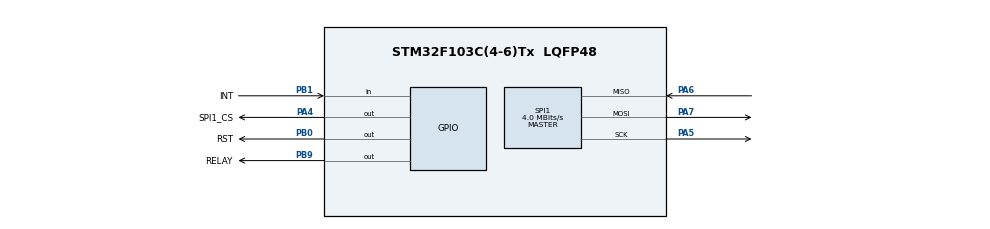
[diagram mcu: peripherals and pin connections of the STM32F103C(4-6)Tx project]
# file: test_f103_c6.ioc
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Mcu.Family=STM32F1
Mcu.Name=STM32F103C(4-6)Tx
Mcu.Package=LQFP48
NVIC.PriorityGroup=NVIC_PRIORITYGROUP_4
PA4.GPIO_Label=SPI1_CS
PA4.Signal=GPIO_Output
PA5.Mode=Full_Duplex_Master
PA5.Signal=SPI1_SCK
PA6.Mode=Full_Duplex_Master
PA6.Signal=SPI1_MISO
PA7.Mode=Full_Duplex_Master
PA7.Signal=SPI1_MOSI
PB0.GPIO_Label=RST
PB0.Signal=GPIO_Output
PB1.GPIO_Label=INT
PB1.Signal=GPIO_Input
PB9.GPIO_Label=RELAY
PB9.Signal=GPIO_Output
ProjectManager.HeapSize=0x200
ProjectManager.StackSize=0x400
ProjectManager.TargetToolchain=STM32CubeIDE
RCC.APB1Freq_Value=8000000
RCC.APB2Freq_Value=8000000
SPI1.CalculateBaudRate=4.0 MBits/s
SPI1.Direction=SPI_DIRECTION_2LINES
SPI1.Mode=SPI_MODE_MASTER
SPI1.VirtualType=VM_MASTER
VP_SYS_VS_ND.Mode=No_Debug
board=custom

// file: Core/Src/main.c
/* USER CODE BEGIN Header */
/**
  ******************************************************************************
  * @file           : main.c
  * @brief          : Main program body
  ******************************************************************************
  * @attention
  *
  * Copyright (c) 2025 STMicroelectronics.
  * All rights reserved.
  *
  * This software is licensed under terms that can be found in the LICENSE file
  * in the root directory of this software component.
  * If no LICENSE file comes with this software, it is provided AS-IS.
  *
  ******************************************************************************
  */
/* USER CODE END Header */
#include "main.h"

/* USER CODE BEGIN Includes */
#include "eth_w5500.h"
#include "http_digest.h"
#include "relay.h"
#include "logger.h"
#include <stdio.h>
#include <string.h>
#include "config.h"

/* USER CODE END Includes */

/* USER CODE BEGIN PD */

#define CLIENT_SOCKET 0

/* USER CODE END PD */

SPI_HandleTypeDef hspi1;

void SystemClock_Config(void);
static void MX_GPIO_Init(void);
static void MX_SPI1_Init(void);

int main(void)
{

  /* MCU Configuration--------------------------------------------------------*/

  /* Reset of all peripherals, Initializes the Flash interface and the Systick. */
  HAL_Init();

  /* Configure the system clock */
  SystemClock_Config();

  /* Initialize all configured peripherals */
  MX_GPIO_Init();
  MX_SPI1_Init();
  /* USER CODE BEGIN 2 */

	Relay_Init();

	ETH_W5500_Init();
	HAL_Delay(500);
	ETH_W5500_Tick();

	// Initialize logger
	Logger_SetServer(device_config.logger_server_ip, device_config.logger_server_port);

	LOGI("Hi from stm32\n");
	Logger_Process();

	Flash_Write_Config(&device_config);

	ETH_W5500_PrintNetInfo();

//	http_digest_init(CLIENT_SOCKET, cam_ip, cam_port,
//		"/cgi-bin/eventManager.cgi?action=attach&codes=%5BTrafficJunction%5D",
//		cam_user, cam_password);

    http_digest_init(CLIENT_SOCKET, device_config.camera_ip, device_config.camera_port,
    	device_config.camera_url,
		device_config.camera_login, device_config.camera_password);

  /* USER CODE END 2 */

  /* Infinite loop */
	while (1)
	{

    /* USER CODE BEGIN 3 */
		http_digest_status_t err = http_digest_process();
		if (err != HTTP_DIGEST_OK)
			LOGE("http_digest_process() finished in the loop: %d\n", err);

		Logger_Process();
	}
  /* USER CODE END 3 */
}

void SystemClock_Config(void)
{
  RCC_OscInitTypeDef RCC_OscInitStruct = {0};
  RCC_ClkInitTypeDef RCC_ClkInitStruct = {0};

  /** Initializes the RCC Oscillators according to the specified parameters
  * in the RCC_OscInitTypeDef structure.
  */
  RCC_OscInitStruct.OscillatorType = RCC_OSCILLATORTYPE_HSI;
  RCC_OscInitStruct.HSIState = RCC_HSI_ON;
  RCC_OscInitStruct.HSICalibrationValue = RCC_HSICALIBRATION_DEFAULT;
  RCC_OscInitStruct.PLL.PLLState = RCC_PLL_NONE;
  if (HAL_RCC_OscConfig(&RCC_OscInitStruct) != HAL_OK)
  {
    Error_Handler();
  }

  /** Initializes the CPU, AHB and APB buses clocks
  */
  RCC_ClkInitStruct.ClockType = RCC_CLOCKTYPE_HCLK|RCC_CLOCKTYPE_SYSCLK
                              |RCC_CLOCKTYPE_PCLK1|RCC_CLOCKTYPE_PCLK2;
  RCC_ClkInitStruct.SYSCLKSource = RCC_SYSCLKSOURCE_HSI;
  RCC_ClkInitStruct.AHBCLKDivider = RCC_SYSCLK_DIV1;
  RCC_ClkInitStruct.APB1CLKDivider = RCC_HCLK_DIV1;
  RCC_ClkInitStruct.APB2CLKDivider = RCC_HCLK_DIV1;

  if (HAL_RCC_ClockConfig(&RCC_ClkInitStruct, FLASH_LATENCY_0) != HAL_OK)
  {
    Error_Handler();
  }
}

static void MX_SPI1_Init(void)
{

  /* SPI1 parameter configuration*/
  hspi1.Instance = SPI1;
  hspi1.Init.Mode = SPI_MODE_MASTER;
  hspi1.Init.Direction = SPI_DIRECTION_2LINES;
  hspi1.Init.DataSize = SPI_DATASIZE_8BIT;
  hspi1.Init.CLKPolarity = SPI_POLARITY_LOW;
  hspi1.Init.CLKPhase = SPI_PHASE_1EDGE;
  hspi1.Init.NSS = SPI_NSS_SOFT;
  hspi1.Init.BaudRatePrescaler = SPI_BAUDRATEPRESCALER_2;
  hspi1.Init.FirstBit = SPI_FIRSTBIT_MSB;
  hspi1.Init.TIMode = SPI_TIMODE_DISABLE;
  hspi1.Init.CRCCalculation = SPI_CRCCALCULATION_DISABLE;
  hspi1.Init.CRCPolynomial = 10;
  if (HAL_SPI_Init(&hspi1) != HAL_OK)
  {
    Error_Handler();
  }

}

static void MX_GPIO_Init(void)
{
  GPIO_InitTypeDef GPIO_InitStruct = {0};

  /* GPIO Ports Clock Enable */
  __HAL_RCC_GPIOA_CLK_ENABLE();
  __HAL_RCC_GPIOB_CLK_ENABLE();

  /*Configure GPIO pin Output Level */
  HAL_GPIO_WritePin(SPI1_CS_GPIO_Port, SPI1_CS_Pin, GPIO_PIN_RESET);

  /*Configure GPIO pin Output Level */
  HAL_GPIO_WritePin(GPIOB, RST_Pin|RELAY_Pin, GPIO_PIN_RESET);

  /*Configure GPIO pin : SPI1_CS_Pin */
  GPIO_InitStruct.Pin = SPI1_CS_Pin;
  GPIO_InitStruct.Mode = GPIO_MODE_OUTPUT_PP;
  GPIO_InitStruct.Pull = GPIO_NOPULL;
  GPIO_InitStruct.Speed = GPIO_SPEED_FREQ_LOW;
  HAL_GPIO_Init(SPI1_CS_GPIO_Port, &GPIO_InitStruct);

  /*Configure GPIO pins : RST_Pin RELAY_Pin */
  GPIO_InitStruct.Pin = RST_Pin|RELAY_Pin;
  GPIO_InitStruct.Mode = GPIO_MODE_OUTPUT_PP;
  GPIO_InitStruct.Pull = GPIO_NOPULL;
  GPIO_InitStruct.Speed = GPIO_SPEED_FREQ_LOW;
  HAL_GPIO_Init(GPIOB, &GPIO_InitStruct);

  /*Configure GPIO pin : INT_Pin */
  GPIO_InitStruct.Pin = INT_Pin;
  GPIO_InitStruct.Mode = GPIO_MODE_INPUT;
  GPIO_InitStruct.Pull = GPIO_NOPULL;
  HAL_GPIO_Init(INT_GPIO_Port, &GPIO_InitStruct);

}

void Error_Handler(void)
{
  __disable_irq();
  while (1)
  {
  }
}
